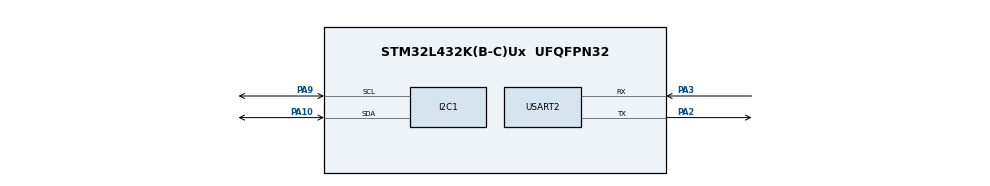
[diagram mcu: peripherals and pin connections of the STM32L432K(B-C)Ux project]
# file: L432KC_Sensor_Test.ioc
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Mcu.Family=STM32L4
Mcu.Name=STM32L432K(B-C)Ux
Mcu.Package=UFQFPN32
NVIC.PriorityGroup=NVIC_PRIORITYGROUP_4
PA10.GPIO_Pu=GPIO_PULLUP
PA10.Mode=I2C
PA10.Signal=I2C1_SDA
PA2.Mode=Asynchronous
PA2.Signal=USART2_TX
PA3.Mode=Asynchronous
PA3.Signal=USART2_RX
PA9.GPIO_Pu=GPIO_PULLUP
PA9.Mode=I2C
PA9.Signal=I2C1_SCL
ProjectManager.HeapSize=0x200
ProjectManager.StackSize=0x400
ProjectManager.TargetToolchain=STM32CubeIDE
RCC.HSE_VALUE=8000000
RCC.HSI48_VALUE=48000000
RCC.HSI_VALUE=16000000
RCC.LSE_VALUE=32768
RCC.MSI_VALUE=4000000
RCC.VCOOutputFreq_Value=32000000
USART2.VirtualMode-Asynchronous=VM_ASYNC
VP_CRC_VS_CRC.Mode=CRC_Activate
board=custom

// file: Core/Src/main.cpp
/* USER CODE BEGIN Header */
/**
  ******************************************************************************
  * @file           : main.c
  * @brief          : Main program body
  ******************************************************************************
  * @attention
  *
  * Copyright (c) 2024 STMicroelectronics.
  * All rights reserved.
  *
  * This software is licensed under terms that can be found in the LICENSE file
  * in the root directory of this software component.
  * If no LICENSE file comes with this software, it is provided AS-IS.
  *
  ******************************************************************************
  */
/* USER CODE END Header */
#include "main.h"

/* USER CODE BEGIN Includes */
//#define _USE_SHT31
//#define _USE_AHT20
//#define _USE_BME280
//#define _USE_SI7021
#define _USE_HTU21DF

#ifdef _USE_SHT31
	#include <../../sht31/SHT31.h>
#endif
#ifdef _USE_HTU21DF
	#include <../../htu21df/HTU21DF.h>
#endif
#ifdef _USE_AHT20
	#include <../../aht20/AHT20.h>
#endif
#ifdef _USE_BMP280
	#include <../../bmp280/bmp280.h>
#endif
#ifdef _USE_BME280
	#include "../../bme280/BME280.h"
	using namespace BME280;
#endif
#ifdef	_USE_SI7021
#include "../../Si7021/Si7021.h"
#endif
#include <math.h>
#include <stdio.h>
#include <string.h>
/* USER CODE END Includes */

I2C_HandleTypeDef hi2c1;

UART_HandleTypeDef huart2;

/* USER CODE BEGIN PV */
float t,h;
double temperature,humidity;
double PressureOffset=0.10;
double p,pressure;
uint8_t charBuffer[255];
#ifdef _USE_HTU21DF
	float HTU21DF_temp = NAN;
	float HTU21DF_humidity = NAN;
	HTU21DF htu21df(&hi2c1);
#endif
#ifdef _USE_AHT20
	float AHT20_temp,AHT20_humidity;
	AHT20 AHT20_sensor(&hi2c1);
#endif
#ifdef _USE_BMP280
	using namespace BMP280;
	bmp280i2c sensor(&hi2c1,bmp280_i2c_addr_2);
#endif

#ifdef _USE_BME280
	double BME280_temperature,BME280_humidity,BME280_pressure;
	bme280i2c BME280_sensor(&hi2c1,bme280_i2c_addr_2);
#endif

#ifdef _USE_SHT31
	float SHT31_temp,SHT31_humidity;
	SHT31_param_t sht31_param = {
			.hi2c=&hi2c1,
			.i2c_addr =sht31_i2c_addr1,
			.periodic_mode=true,
			.heater_enable = false,
			.sample_rate=_05mps_high_Res
	};
	SHT31 SHT31_sensor(sht31_param);
#endif

#ifdef _USE_SI7021
	Si7021_param_t Si7021_param = {
			.hi2c=&hi2c1,
			._DevAddress=SI7021_I2C_ADDR,
			.enable=Si7021_heater_disable,
			.heater_current=0,
			.res=Si7021_RH12_T14
	};
	float Si7021_temp,Si7021_humidity;
	Si7021 Si7021_sensor(Si7021_param);
#endif

/* USER CODE END PV */

void SystemClock_Config(void);
static void MX_GPIO_Init(void);
static void MX_I2C1_Init(void);
static void MX_USART2_UART_Init(void);

int main(void)
{

  /* MCU Configuration--------------------------------------------------------*/

  /* Reset of all peripherals, Initializes the Flash interface and the Systick. */
  HAL_Init();

  /* Configure the system clock */
  SystemClock_Config();

  /* Initialize all configured peripherals */
  MX_GPIO_Init();
  MX_I2C1_Init();
  MX_USART2_UART_Init();

  /* Infinite loop */
  while (1)
  {

    /* USER CODE BEGIN 3 */
#ifdef _USE_HTU21DF
	  htu21df.main();
	  if(htu21df.newData()){
		  htu21df.readTemperature(&HTU21DF_temp);

            if (! isnan(HTU21DF_temp)) {  // check if 'is not a number'
            	HTU21DF_temp = HTU21DF_temp = HTU21DF_temp*9/5+32;;
              //printf("");
              sprintf((char*)charBuffer,"Temp:  %f\t\t",HTU21DF_temp);
              //printf("\t\t");
              HAL_UART_Transmit(&huart2,charBuffer,strlen((char*)charBuffer),HAL_MAX_DELAY);
            } else {
              printf("Failed to read temperature");
            }
            htu21df.readHumidity(&HTU21DF_humidity);
            if (! isnan(HTU21DF_humidity)) {  // check if 'is not a number'
             // printf("");
              sprintf((char*)charBuffer,"RH = %f\r\n",HTU21DF_humidity);
              HAL_UART_Transmit(&huart2,charBuffer,strlen((char*)charBuffer),HAL_MAX_DELAY);
            } else {
              //printf("Failed to read humidity");
            }
      }
#endif

#ifdef _USE_AHT20

                   AHT20_sensor.main();
                   if(AHT20_sensor.newData()){
                	   AHT20_sensor.getTempHumidity(&AHT20_temp,&AHT20_humidity);
               		sprintf((char*)charBuffer,"AHT20: \t");
               		HAL_UART_Transmit(&huart2,charBuffer,strlen((char*)charBuffer),HAL_MAX_DELAY);
                	   if (! isnan(AHT20_humidity)) {  // check if 'is not a number'
                	                           // printf("");
                	                           sprintf((char*)charBuffer,"RH = %f\t\t",AHT20_humidity);
                	                           HAL_UART_Transmit(&huart2,charBuffer,strlen((char*)charBuffer),HAL_MAX_DELAY);
                	                       } else {
                	                           //printf("Failed to read humidity");
                	                       }

                	   if (! isnan(AHT20_temp)) {  // check if 'is not a number'
                		   AHT20_temp = AHT20_temp*9/5+32;

                		   /* Write temperature to Debug UART */
                		   sprintf((char*)charBuffer,"Temp:  %f\r\n",AHT20_temp);
                		   HAL_UART_Transmit(&huart2,charBuffer,strlen((char*)charBuffer),HAL_MAX_DELAY);
                	   } else {
                		   printf("Failed to read temperature");
                	   }
                   }

#endif

#ifdef _USE_Si7021

                   sensor.StartMeasurement();
                   HAL_Delay(100);
                   sensor.ReadTempHumidity(&t,&h);
                   if (! isnan(h)) {  // check if 'is not a number'
                        // printf("");
                        sprintf((char*)charBuffer,"RH = %f\r\n",h);
                        HAL_UART_Transmit(&huart2,charBuffer,strlen((char*)charBuffer),HAL_MAX_DELAY);
                    } else {
                        //printf("Failed to read humidity");
                    }

                   if (! isnan(t)) {  // check if 'is not a number'
                	   t = t*9/5+32;
                                 /* Write temperature to Debug UART */
                                 sprintf((char*)charBuffer,"Temp:  %f\t\t",t);
                                 HAL_UART_Transmit(&huart2,charBuffer,strlen((char*)charBuffer),HAL_MAX_DELAY);
                               } else {
                                 printf("Failed to read temperature");
                           }

#endif

#ifdef _USE_BMP280
                   sensor.main();
                   if(sensor.newData()){

                		sensor.GetTemperature(&t);
                		sensor.GetPressure(&p);

					   if (! isnan(p)) {  // check if 'is not a number'
							// printf("");
						   p= p*0.00029529983071445 + 0.06;
							sprintf((char*)charBuffer,"Pressure = %f\r\n",p);
							HAL_UART_Transmit(&huart2,charBuffer,strlen((char*)charBuffer),HAL_MAX_DELAY);
						} else {
							//printf("Failed to read humidity");
						}

					   if (! isnan(t)) {  // check if 'is not a number'
						   t = t*9/5+32;
									 /* Write temperature to Debug UART */
									 sprintf((char*)charBuffer,"Temp:  %f\t\t",t);
									 HAL_UART_Transmit(&huart2,charBuffer,strlen((char*)charBuffer),HAL_MAX_DELAY);
								   } else {
									 printf("Failed to read temperature");
							   }
                   }

#endif

#ifdef _USE_BME280
                   BME280_sensor.main();
                   if(BME280_sensor.newData()){

                	   BME280_sensor.GetTemperature(&BME280_temperature);
                	   BME280_sensor.GetPressure(&BME280_pressure);
                	   BME280_sensor.GetHumidity(&BME280_humidity);

                		sprintf((char*)charBuffer,"BME280: \t");
                		HAL_UART_Transmit(&huart2,charBuffer,strlen((char*)charBuffer),HAL_MAX_DELAY);

					   if (! isnan(BME280_pressure)) {  // check if 'is not a number'
							// printf("");
						   BME280_pressure= BME280_pressure*0.00029529983071445 + 0.12;
							sprintf((char*)charBuffer,"Pressure = %f\r\n",BME280_pressure);
							HAL_UART_Transmit(&huart2,charBuffer,strlen((char*)charBuffer),HAL_MAX_DELAY);
						} else {
							//printf("Failed to read humidity");
						}

					   if (! isnan(BME280_temperature)) {  // check if 'is not a number'
						   BME280_temperature = BME280_temperature*9/5+32;
									 /* Write temperature to Debug UART */
									 sprintf((char*)charBuffer,"Temp:  %f\t\t",BME280_temperature);
									 HAL_UART_Transmit(&huart2,charBuffer,strlen((char*)charBuffer),HAL_MAX_DELAY);
								   } else {
									 printf("Failed to read temperature");
							   }
					   if (! isnan(BME280_humidity)) {  // check if 'is not a number'
					                           // printf("");
					                           sprintf((char*)charBuffer,"RH = %f\r\n",BME280_humidity);
					                           HAL_UART_Transmit(&huart2,charBuffer,strlen((char*)charBuffer),HAL_MAX_DELAY);
					                       } else {
					                           //printf("Failed to read humidity");
					                       }
                   }

#endif

#ifdef _USE_SHT31
                   SHT31_sensor.main();
                   if(SHT31_sensor.newData()){

                		SHT31_sensor.GetTemperature(&SHT31_temp);
                		SHT31_sensor.GetHumidity(&SHT31_humidity);

                		sprintf((char*)charBuffer,"SHT31 \t");
                		HAL_UART_Transmit(&huart2,charBuffer,strlen((char*)charBuffer),HAL_MAX_DELAY);

					   if (! isnan(SHT31_temp)) {  // check if 'is not a number'
						   SHT31_temp = SHT31_temp*9/5+32;
									 /* Write temperature to Debug UART */
									 sprintf((char*)charBuffer,"Temp:  %f\t\t",SHT31_temp);
									 HAL_UART_Transmit(&huart2,charBuffer,strlen((char*)charBuffer),HAL_MAX_DELAY);
								   } else {
									 printf("Failed to read temperature");
							   }
					   if (! isnan(SHT31_humidity)) {  // check if 'is not a number'
					                           sprintf((char*)charBuffer,"RH = %f\r\n",SHT31_humidity);
					                           HAL_UART_Transmit(&huart2,charBuffer,strlen((char*)charBuffer),HAL_MAX_DELAY);
					                       } else {
					                           //printf("Failed to read humidity");
					                       }
                   }

#endif

#ifdef _USE_SI7021
                   Si7021_sensor.main();
                   if(Si7021_sensor.newData()){

                	   Si7021_sensor.readTempHumidity(&Si7021_temp, &Si7021_humidity);
                	  // Si7021_sensor.GetTemperature(&Si7021_temp);
                	  // Si7021_sensor.GetHumidity(&Si7021_humidity);

                		sprintf((char*)charBuffer,"Si7021 \t");
                		HAL_UART_Transmit(&huart2,charBuffer,strlen((char*)charBuffer),HAL_MAX_DELAY);

					   if (! isnan(Si7021_temp)) {  // check if 'is not a number'
						   Si7021_temp = Si7021_temp*9/5+32;
									 /* Write temperature to Debug UART */
									 sprintf((char*)charBuffer,"Temp:  %f\t\t",Si7021_temp);
									 HAL_UART_Transmit(&huart2,charBuffer,strlen((char*)charBuffer),HAL_MAX_DELAY);
								   } else {
									 printf("Failed to read temperature");
							   }
					   if (! isnan(Si7021_humidity)) {  // check if 'is not a number'
					                           sprintf((char*)charBuffer,"RH = %f\r\n",Si7021_humidity);
					                           HAL_UART_Transmit(&huart2,charBuffer,strlen((char*)charBuffer),HAL_MAX_DELAY);
					                       } else {
					                           //printf("Failed to read humidity");
					                       }
                   }

#endif
    HAL_Delay(10);

  }
  /* USER CODE END 3 */
}

void SystemClock_Config(void)
{
  RCC_OscInitTypeDef RCC_OscInitStruct = {0};
  RCC_ClkInitTypeDef RCC_ClkInitStruct = {0};

  /** Configure the main internal regulator output voltage
  */
  if (HAL_PWREx_ControlVoltageScaling(PWR_REGULATOR_VOLTAGE_SCALE1) != HAL_OK)
  {
    Error_Handler();
  }

  /** Initializes the RCC Oscillators according to the specified parameters
  * in the RCC_OscInitTypeDef structure.
  */
  RCC_OscInitStruct.OscillatorType = RCC_OSCILLATORTYPE_MSI;
  RCC_OscInitStruct.MSIState = RCC_MSI_ON;
  RCC_OscInitStruct.MSICalibrationValue = 0;
  RCC_OscInitStruct.MSIClockRange = RCC_MSIRANGE_6;
  RCC_OscInitStruct.PLL.PLLState = RCC_PLL_NONE;
  if (HAL_RCC_OscConfig(&RCC_OscInitStruct) != HAL_OK)
  {
    Error_Handler();
  }

  /** Initializes the CPU, AHB and APB buses clocks
  */
  RCC_ClkInitStruct.ClockType = RCC_CLOCKTYPE_HCLK|RCC_CLOCKTYPE_SYSCLK
                              |RCC_CLOCKTYPE_PCLK1|RCC_CLOCKTYPE_PCLK2;
  RCC_ClkInitStruct.SYSCLKSource = RCC_SYSCLKSOURCE_MSI;
  RCC_ClkInitStruct.AHBCLKDivider = RCC_SYSCLK_DIV1;
  RCC_ClkInitStruct.APB1CLKDivider = RCC_HCLK_DIV1;
  RCC_ClkInitStruct.APB2CLKDivider = RCC_HCLK_DIV1;

  if (HAL_RCC_ClockConfig(&RCC_ClkInitStruct, FLASH_LATENCY_0) != HAL_OK)
  {
    Error_Handler();

  }
}

static void MX_I2C1_Init(void)
{

  hi2c1.Instance = I2C1;
  hi2c1.Init.Timing = 0x00000E14;
  hi2c1.Init.OwnAddress1 = 0;
  hi2c1.Init.AddressingMode = I2C_ADDRESSINGMODE_7BIT;
  hi2c1.Init.DualAddressMode = I2C_DUALADDRESS_DISABLE;
  hi2c1.Init.OwnAddress2 = 0;
  hi2c1.Init.OwnAddress2Masks = I2C_OA2_NOMASK;
  hi2c1.Init.GeneralCallMode = I2C_GENERALCALL_DISABLE;
  hi2c1.Init.NoStretchMode = I2C_NOSTRETCH_DISABLE;
  if (HAL_I2C_Init(&hi2c1) != HAL_OK)
  {
    Error_Handler();
  }

  /** Configure Analogue filter
  */
  if (HAL_I2CEx_ConfigAnalogFilter(&hi2c1, I2C_ANALOGFILTER_ENABLE) != HAL_OK)
  {
    Error_Handler();
  }

  /** Configure Digital filter
  */
  if (HAL_I2CEx_ConfigDigitalFilter(&hi2c1, 0) != HAL_OK)
  {
    Error_Handler();
  }

}

static void MX_USART2_UART_Init(void)
{

  huart2.Instance = USART2;
  huart2.Init.BaudRate = 115200;
  huart2.Init.WordLength = UART_WORDLENGTH_8B;
  huart2.Init.StopBits = UART_STOPBITS_1;
  huart2.Init.Parity = UART_PARITY_NONE;
  huart2.Init.Mode = UART_MODE_TX_RX;
  huart2.Init.HwFlowCtl = UART_HWCONTROL_NONE;
  huart2.Init.OverSampling = UART_OVERSAMPLING_16;
  huart2.Init.OneBitSampling = UART_ONE_BIT_SAMPLE_DISABLE;
  huart2.AdvancedInit.AdvFeatureInit = UART_ADVFEATURE_NO_INIT;
  if (HAL_UART_Init(&huart2) != HAL_OK)
  {
    Error_Handler();
  }

}

static void MX_GPIO_Init(void)
{

  /* GPIO Ports Clock Enable */
  __HAL_RCC_GPIOA_CLK_ENABLE();

}

void Error_Handler(void)
{
  __disable_irq();
  while (1)
  {
  }
}
